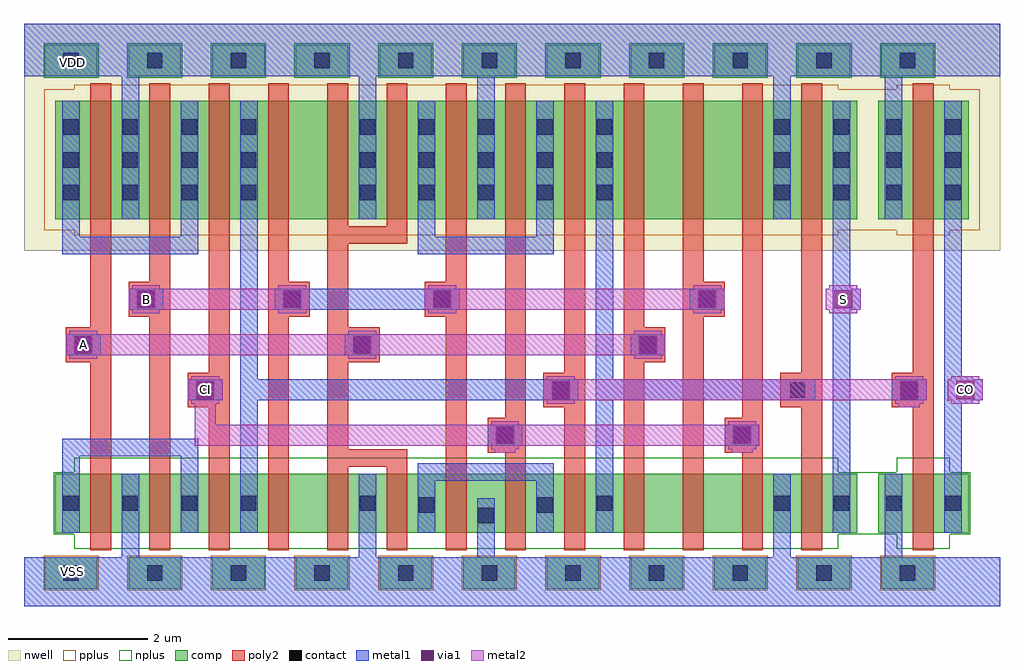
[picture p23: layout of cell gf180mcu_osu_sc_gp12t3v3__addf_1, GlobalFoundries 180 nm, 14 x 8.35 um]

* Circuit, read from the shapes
.subckt gf180mcu_osu_sc_gp12t3v3__addf_1 A B CI CO S VDD VSS
XM1 VSS A n1 VSS nfet_03v3 w=0.85u l=0.3u
XM2 n1 B VSS VSS nfet_03v3 w=0.85u l=0.3u
XM3 n2 CI n1 VSS nfet_03v3 w=0.85u l=0.3u
XM4 n3 B n2 VSS nfet_03v3 w=0.85u l=0.3u
XM5 VSS A n3 VSS nfet_03v3 w=0.85u l=0.3u
XM6 n4 A VSS VSS nfet_03v3 w=0.85u l=0.3u
XM7 VSS B n4 VSS nfet_03v3 w=0.85u l=0.3u
XM8 n4 CI VSS VSS nfet_03v3 w=0.85u l=0.3u
XM9 n5 n2 n4 VSS nfet_03v3 w=0.85u l=0.3u
XM10 n6 A n5 VSS nfet_03v3 w=0.85u l=0.3u
XM11 n7 B n6 VSS nfet_03v3 w=0.85u l=0.3u
XM12 VSS CI n7 VSS nfet_03v3 w=0.85u l=0.3u
XM13 S n5 VSS VSS nfet_03v3 w=0.85u l=0.3u
XM14 CO n2 VSS VSS nfet_03v3 w=0.85u l=0.3u
XM15 VDD A n8 VDD pfet_03v3 w=1.7u l=0.3u
XM16 n8 B VDD VDD pfet_03v3 w=1.7u l=0.3u
XM17 n2 CI n8 VDD pfet_03v3 w=1.7u l=0.3u
XM18 n9 B n2 VDD pfet_03v3 w=1.7u l=0.3u
XM19 VDD A n9 VDD pfet_03v3 w=1.7u l=0.3u
XM20 n10 A VDD VDD pfet_03v3 w=1.7u l=0.3u
XM21 VDD B n10 VDD pfet_03v3 w=1.7u l=0.3u
XM22 n10 CI VDD VDD pfet_03v3 w=1.7u l=0.3u
XM23 n5 n2 n10 VDD pfet_03v3 w=1.7u l=0.3u
XM24 n11 A n5 VDD pfet_03v3 w=1.7u l=0.3u
XM25 n12 B n11 VDD pfet_03v3 w=1.7u l=0.3u
XM26 VDD CI n12 VDD pfet_03v3 w=1.7u l=0.3u
XM27 S n5 VDD VDD pfet_03v3 w=1.7u l=0.3u
XM28 CO n2 VDD VDD pfet_03v3 w=1.7u l=0.3u
.ends

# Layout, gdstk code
import gdstk
lib = gdstk.Library(unit=1e-6, precision=1e-09)
def R(c, l, rs):  # rectangles x0, y0, x1, y1
    for r in rs: c.add(gdstk.rectangle(r[:2], r[2:], *l))
def A(c, l, x, y, w, h, nx, ny, dx, dy):  # array of equal rectangles
    R(c, l, [(x+i*dx, y+j*dy, x+i*dx+w, y+j*dy+h) for i in range(nx) for j in range(ny)])
nwell = (21, 0)
comp = (22, 0)
poly2 = (30, 0)
pplus = (31, 0)
nplus = (32, 0)
contact = (33, 0)
metal1 = (34, 0)
via1 = (35, 0)
metal2 = (36, 0)

gf180mcu_osu_sc_gp12t3v3 = lib.new_cell('gf180mcu_osu_sc_gp12t3v3__addf_1')
R(gf180mcu_osu_sc_gp12t3v3, nwell, [(0,5.1,14,8.35)])
A(gf180mcu_osu_sc_gp12t3v3, comp, 0.3, 0.25, 0.75, 0.45, 11, 2, 1.2, 7.35)
R(gf180mcu_osu_sc_gp12t3v3, comp, [(0.45,1.05,11.95,1.9), (12.25,1.05,13.55,1.9), (0.45,5.55,11.95,7.25), (12.25,5.55,13.55,7.25)])
R(gf180mcu_osu_sc_gp12t3v3, poly2, [(0.95,0.8,1.25,3.5), (1.8,0.8,2.1,4.15), (2.65,0.8,2.95,2.85), (3.5,0.8,3.8,4.15), (4.35,0.8,4.65,2), (5.2,0.8,5.5,2), (6.05,0.8,6.35,4.15), (6.9,0.8,7.2,2.2), (7.75,0.8,8.05,2.85), (8.6,0.8,8.9,3.5), (9.45,0.8,9.75,4.15), (10.3,0.8,10.6,2.2), (11.15,0.8,11.45,2.85), (12.75,0.8,13.05,2.85), (4.35,2,5.5,2.25), (6.65,2.2,7.2,2.7), (10.05,2.2,10.6,2.7), (4.35,2.25,4.65,3.5), (6.9,2.7,7.2,7.5), (10.3,2.7,10.6,7.5), (2.35,2.85,2.95,3.35), (7.45,2.85,8.05,3.35), (10.85,2.85,11.45,3.35), (12.45,2.85,13.05,3.35), (2.65,3.35,2.95,7.5), (7.75,3.35,8.05,7.5), (11.15,3.35,11.45,7.5), (12.75,3.35,13.05,7.5), (0.6,3.5,1.25,4), (4.35,3.5,5.1,4), (8.6,3.5,9.2,4), (0.95,4,1.25,7.5), (4.35,4,4.65,5.2), (8.6,4,8.9,7.5), (1.5,4.15,2.1,4.65), (3.5,4.15,4.1,4.65), (5.75,4.15,6.35,4.65), (9.45,4.15,10.05,4.65), (1.8,4.65,2.1,7.5), (3.5,4.65,3.8,7.5), (6.05,4.65,6.35,7.5), (9.45,4.65,9.75,7.5), (4.35,5.2,5.5,5.45), (4.35,5.45,4.65,7.5), (5.2,5.45,5.5,7.5)])
A(gf180mcu_osu_sc_gp12t3v3, pplus, 0.28, 0.23, 0.79, 0.49, 11, 1, 1.2, 0)
R(gf180mcu_osu_sc_gp12t3v3, pplus, [(0.72,5.32,11.68,5.39), (12.52,5.32,13.28,5.39), (0.29,5.39,13.71,7.41), (0.72,7.41,11.68,7.48), (12.52,7.41,13.28,7.48)])
A(gf180mcu_osu_sc_gp12t3v3, nplus, 0.28, 7.58, 0.79, 0.49, 11, 1, 1.2, 0)
R(gf180mcu_osu_sc_gp12t3v3, nplus, [(0.72,0.82,11.68,1.03), (12.52,0.82,13.28,1.03), (0.43,1.03,13.57,1.92), (0.72,1.92,11.68,2.13), (12.52,1.92,13.28,2.13)])
A(gf180mcu_osu_sc_gp12t3v3, contact, 0.565, 0.365, 0.22, 0.22, 11, 2, 1.2, 7.35)
A(gf180mcu_osu_sc_gp12t3v3, contact, 0.565, 1.365, 0.22, 0.22, 4, 2, 0.85, 4.455)
A(gf180mcu_osu_sc_gp12t3v3, contact, 4.815, 5.82, 0.22, 0.22, 5, 3, 0.85, 0.47)
A(gf180mcu_osu_sc_gp12t3v3, contact, 10.765, 5.82, 0.22, 0.22, 1, 3, 0, 0.47)
A(gf180mcu_osu_sc_gp12t3v3, contact, 11.615, 5.82, 0.22, 0.22, 1, 3, 0, 0.47)
A(gf180mcu_osu_sc_gp12t3v3, contact, 12.365, 5.82, 0.22, 0.22, 1, 3, 0, 0.47)
A(gf180mcu_osu_sc_gp12t3v3, contact, 13.215, 5.82, 0.22, 0.22, 1, 3, 0, 0.47)
A(gf180mcu_osu_sc_gp12t3v3, contact, 0.565, 6.29, 0.22, 0.22, 4, 2, 0.85, 0.47)
R(gf180mcu_osu_sc_gp12t3v3, contact, [(6.515,1.19,6.735,1.41), (5.665,1.34,5.885,1.56), (7.365,1.34,7.585,1.56), (4.815,1.365,5.035,1.585), (8.215,1.365,8.435,1.585), (10.765,1.365,10.985,1.585), (11.615,1.365,11.835,1.585), (12.365,1.365,12.585,1.585), (13.215,1.365,13.435,1.585), (6.79,2.34,7.01,2.56), (10.19,2.34,10.41,2.56), (2.49,2.99,2.71,3.21), (7.59,2.99,7.81,3.21), (10.99,2.99,11.21,3.21), (12.59,2.99,12.81,3.21), (0.74,3.64,0.96,3.86), (4.74,3.64,4.96,3.86), (8.84,3.64,9.06,3.86), (1.64,4.29,1.86,4.51), (3.74,4.29,3.96,4.51), (5.89,4.29,6.11,4.51), (9.69,4.29,9.91,4.51)])
R(gf180mcu_osu_sc_gp12t3v3, metal1, [(0,0,14,0.7), (1.4,0.7,1.65,1.9), (4.8,0.7,5.05,1.9), (6.5,0.7,6.75,1.55), (10.75,0.7,11,1.9), (12.35,0.7,12.6,1.9), (0.55,1.05,0.8,2.15), (2.25,1.05,2.5,2.15), (3.1,1.05,3.35,2.95), (5.65,1.05,5.9,1.8), (7.35,1.05,7.6,1.8), (8.2,1.05,8.45,2.95), (11.6,1.05,11.85,4.25), (13.2,1.05,13.45,2.9), (5.65,1.8,7.6,2.05), (0.55,2.15,2.5,2.4), (6.65,2.3,7.15,2.6), (10.05,2.3,10.55,2.6), (13.2,2.9,13.6,2.95), (2.35,2.95,2.85,3.25), (3.1,2.95,7.95,3.25), (8.2,2.95,11.35,3.25), (12.45,2.95,12.95,3.25), (13.2,2.95,13.75,3.25), (3.1,3.25,3.35,7.25), (8.2,3.25,8.45,7.25), (13.2,3.25,13.6,3.3), (13.2,3.3,13.45,7.25), (0.6,3.6,1.1,3.9), (4.6,3.6,5.1,3.9), (8.7,3.6,9.2,3.9), (1.5,4.25,2,4.55), (3.6,4.25,6.25,4.55), (9.55,4.25,10.05,4.55), (11.6,4.25,12,4.55), (11.6,4.55,11.85,7.25), (0.55,5.05,2.5,5.3), (5.65,5.05,7.6,5.3), (0.55,5.3,0.8,7.25), (2.25,5.3,2.5,7.25), (5.65,5.3,5.9,7.25), (7.35,5.3,7.6,7.25), (1.4,5.55,1.65,7.6), (4.8,5.55,5.05,7.6), (6.5,5.55,6.75,7.6), (10.75,5.55,11,7.6), (12.35,5.55,12.6,7.6), (0,7.6,14,8.35)])
R(gf180mcu_osu_sc_gp12t3v3, via1, [(6.77,2.32,7.03,2.58), (10.17,2.32,10.43,2.58), (2.47,2.97,2.73,3.23), (7.57,2.97,7.83,3.23), (12.57,2.97,12.83,3.23), (13.37,2.97,13.63,3.23), (0.72,3.62,0.98,3.88), (4.72,3.62,4.98,3.88), (8.82,3.62,9.08,3.88), (1.62,4.27,1.88,4.53), (3.72,4.27,3.98,4.53), (5.87,4.27,6.13,4.53), (9.67,4.27,9.93,4.53), (11.62,4.27,11.88,4.53)])
R(gf180mcu_osu_sc_gp12t3v3, metal2, [(6.75,2.2,7.05,2.25), (10.15,2.2,10.45,2.25), (6.7,2.25,7.1,2.3), (10.1,2.25,10.5,2.3), (2.45,2.3,10.55,2.6), (2.45,2.6,2.75,2.9), (6.7,2.6,7.1,2.65), (10.1,2.6,10.5,2.65), (12.55,2.85,12.85,2.9), (2.4,2.9,2.8,2.95), (7.5,2.9,7.9,2.95), (12.5,2.9,12.9,2.95), (13.3,2.9,13.7,2.95), (2.35,2.95,2.85,3.25), (7.45,2.95,12.95,3.25), (13.25,2.95,13.75,3.25), (2.4,3.25,2.8,3.3), (7.5,3.25,7.9,3.3), (12.5,3.25,12.9,3.3), (13.3,3.25,13.7,3.3), (0.65,3.55,1.05,3.6), (4.65,3.55,5.05,3.6), (8.75,3.55,9.15,3.6), (0.6,3.6,9.2,3.9), (0.65,3.9,1.05,3.95), (4.65,3.9,5.05,3.95), (8.75,3.9,9.15,3.95), (1.55,4.2,1.95,4.25), (3.65,4.2,4.05,4.25), (5.8,4.2,6.2,4.25), (9.6,4.2,10,4.25), (11.55,4.2,11.95,4.25), (1.5,4.25,4.1,4.55), (5.75,4.25,10.05,4.55), (11.5,4.25,12,4.55), (1.55,4.55,1.95,4.6), (3.65,4.55,4.05,4.6), (5.8,4.55,6.2,4.6), (9.6,4.55,10,4.6), (11.55,4.55,11.95,4.6)])
gf180mcu_osu_sc_gp12t3v3.add(gdstk.Label('A', (0.85,3.75), layer=36, texttype=10))
gf180mcu_osu_sc_gp12t3v3.add(gdstk.Label('B', (1.75,4.4), layer=36, texttype=10))
gf180mcu_osu_sc_gp12t3v3.add(gdstk.Label('CI', (2.6,3.1), layer=36, texttype=10))
gf180mcu_osu_sc_gp12t3v3.add(gdstk.Label('S', (11.75,4.4), layer=36, texttype=10))
gf180mcu_osu_sc_gp12t3v3.add(gdstk.Label('CO', (13.5,3.1), layer=36, texttype=10))
gf180mcu_osu_sc_gp12t3v3.add(gdstk.Label('VSS', (0.7,0.5), layer=34, texttype=10))
gf180mcu_osu_sc_gp12t3v3.add(gdstk.Label('VDD', (0.7,7.8), layer=34, texttype=10))

lib.write_gds('gf180mcu_osu_sc_gp12t3v3__addf_1.gds')
